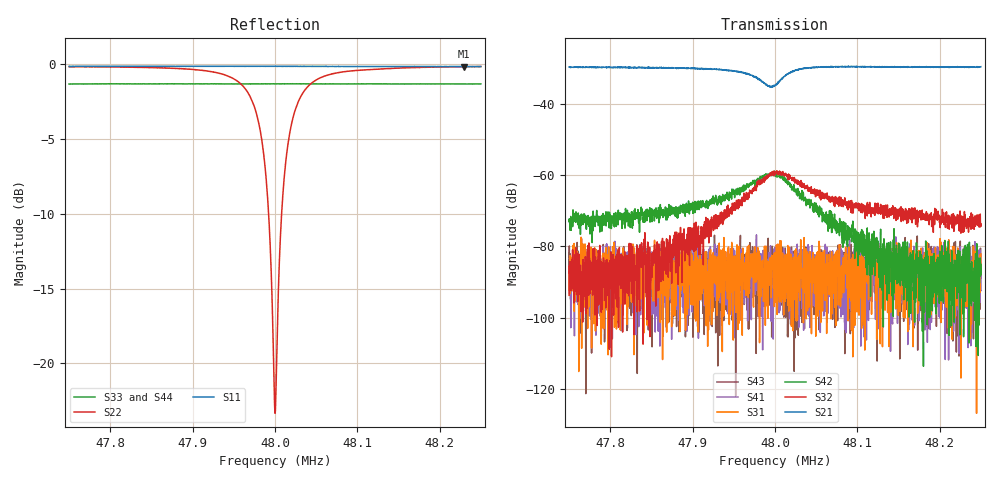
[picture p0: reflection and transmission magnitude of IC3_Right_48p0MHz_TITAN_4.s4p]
#  HZ  S  DB  R  50.00
! Rohde & Schwarz Vector Network Analyzer
! Rohde-Schwarz,ZNB8-4Port,1311601044102961,2.82
! Created: UTC 2/8/2019, 2:27:48 PM
! freq[Hz]  db:S11  ang:S11  db:S12  ang:S12  db:S13  ang:S13  db:S14  ang:S14
!  db:S21  ang:S21  db:S22  ang:S22  db:S23  ang:S23  db:S24  ang:S24
!  db:S31  ang:S31  db:S32  ang:S32  db:S33  ang:S33  db:S34  ang:S34
!  db:S41  ang:S41  db:S42  ang:S42  db:S43  ang:S43  db:S44  ang:S44
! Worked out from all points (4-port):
!   2001 points, 47.75 MHz to 48.25 MHz, reference 50 ohm
!   strongest paths, dB at 47.75 MHz, 47.875 MHz, 48 MHz, 48.125 MHz, 48.25 MHz:
!     S21: -29.8, -30.0, -34.9, -29.6, -29.7
!     S32: -93.7, -79.6, -59.1, -67.9, -74.3
!     S42: -72.4, -69.9, -59.8, -80.6, -87.8
!     S31: -92.2, -100.3, -86.9, -90.1, -82.2
!     S41: -89.9, -86.4, -90.0, -83.0, -87.0
!     S43: -89.2, -97.2, -88.2, -86.6, -89.0
!   lowest |S11| = -0.2 dB at 48.23 MHz (marker M1), VSWR 92.30, Z = 0.792 - j34 ohm
!   |S11| at or under -10 dB: nowhere
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4.775e7  -0.17 -101.6  -29.77 -137.8  -83.28 11.1  -90.43 178.3
         -29.76 -138.0  -0.19 5.6  -88.95 -1.8  -73.66 -27.6
         -92.24 -172.0  -93.73 33.9  -1.35 132.5  -90.45 144.6
         -89.94 37.7  -72.43 -16.6  -89.17 67.7  -1.35 139.9
4.789175e7  -0.18 -104.5  -30.04 -145.7  -80.96 -38.9  -81.69 65.8
            -30.07 -146.0  -0.34 -7.2  -82.26 122.4  -69.51 -25.7
            -79.24 -0.1  -78.15 132.5  -1.34 130.8  -97.86 61.7
            -81.83 52.3  -69.81 -31.8  -81.11 93.1  -1.34 138.2
4.7966e7  -0.17 -106.0  -31.65 -155.4  -91.63 74.8  -87.13 -114.2
          -31.67 -155.4  -1.83 -31.2  -67.44 118.1  -62.83 -52.3
          -82.16 -63.4  -66.40 119.3  -1.35 129.9  -90.75 122.8
          -84.86 136.1  -62.45 -51.9  -97.56 -144.3  -1.34 137.2
4.8e7  -0.17 -106.8  -35.06 -129.0  -93.98 46.5  -94.18 95.8
       -34.88 -129.6  -23.33 -4.4  -59.13 58.6  -59.63 -107.0
       -86.89 -15.6  -59.08 63.5  -1.34 129.4  -86.09 95.8
       -89.99 74.7  -59.84 -108.5  -88.15 -96.9  -1.34 136.8
4.8033e7  -0.17 -107.4  -30.33 -128.7  -83.75 171.5  -84.95 75.3
          -30.19 -128.1  -2.01 31.1  -62.47 2.9  -65.66 -164.8
          -91.43 -42.0  -62.93 7.4  -1.33 129.1  -81.61 29.9
          -80.91 -77.6  -66.85 -163.0  -84.72 8.4  -1.34 136.4
4.822975e7  -0.19 -111.5  -29.84 -148.1  -85.89 -88.2  -87.09 -175.4
            -29.77 -148.8  -0.19 -4.5  -69.89 -33.9  -92.31 56.1
            -96.99 -82.3  -72.38 -31.3  -1.35 126.7  -85.39 106.9
            -89.38 44.2  -91.37 138.3  -88.46 61.2  -1.35 134.0
4.825e7  -0.18 -112.0  -29.79 -149.4  -92.63 123.4  -80.83 -42.6
         -29.68 -149.2  -0.18 -5.8  -69.83 -40.6  -84.79 92.9
         -82.16 -179.0  -74.26 -37.3  -1.34 126.5  -93.32 136.8
         -86.95 77.2  -87.83 45.6  -89.02 -131.0  -1.35 133.8
